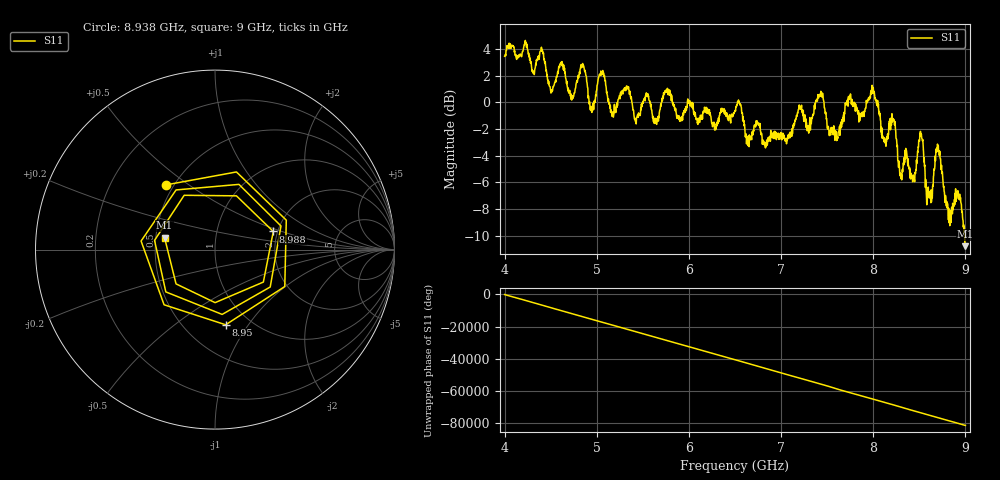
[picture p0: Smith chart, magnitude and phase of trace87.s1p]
! Created with skrf 1.8.0 (http://scikit-rf.org).
# Hz S RI R 50.0
!freq ReS11 ImS11
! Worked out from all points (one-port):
!   1601 points, 4 GHz to 9 GHz, reference 50 ohm
!   lowest |S11| = -10.8 dB at 9 GHz (marker M1), VSWR 1.81, Z = 27.8 + j4.08 ohm
!   |S11| at or under -10 dB: 8.99183 GHz to end of sweep
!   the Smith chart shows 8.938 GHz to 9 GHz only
!   S11 on the Smith chart (normalised r, x): 8.938 GHz: 0.45, +0.41; 8.95 GHz: 0.77, -0.79; 8.988 GHz: 1.90, +0.43; 9 GHz: 0.56, +0.08
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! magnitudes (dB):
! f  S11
! 4 GHz  3.5
! 4.406 GHz  3.8
! 4.509 GHz  0.8
! 4.625 GHz  2.8
! 4.734 GHz  0.5
! 4.853 GHz  2.8
! 4.944 GHz  -0.7
! 5.05 GHz  2.2
! 5.162 GHz  -0.8
! 5.25 GHz  0.4
! 5.875 GHz  -1.1
! 6.5 GHz  -0.7
! 7.125 GHz  -2.3
! 7.425 GHz  0.5
! 7.603 GHz  -2.9
! 7.75 GHz  0.3
! 7.997 GHz  0.7
! 8.116 GHz  -2.9
! 8.375 GHz  -4.8
! 8.441 GHz  -5.6
! 8.519 GHz  -2.6
! 8.6 GHz  -6.8
! 8.703 GHz  -3.4
! 8.819 GHz  -7.9
! 8.938 GHz  -6.9
! 8.95 GHz  -7.5
! 8.988 GHz  -9.4
! 9 GHz  -10.8
